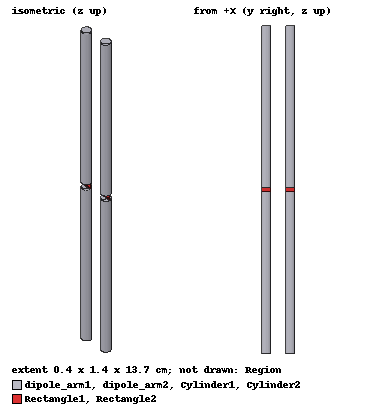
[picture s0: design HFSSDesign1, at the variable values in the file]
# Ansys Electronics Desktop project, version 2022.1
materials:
  vacuum: permittivity=1
  pec: conductivity=1e+30

design HFSSDesign1 (HFSS, DrivenModal, model units cm)
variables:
  wire_rad = 0.2cm
  dipole_length = 6.75cm
  y_kayma = 5
  ykam = 2cm
  y_shift = 1cm
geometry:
  dipole_arm1 [pec] = cylinder(axis=Z, base_centre=(0cm, 0cm, 0.1cm), radius=wire_rad, height=dipole_length)
  dipole_arm2 [pec] = cylinder(axis=Z, base_centre=(0cm, 0cm, -0.1cm), radius=wire_rad, height=-dipole_length)
  Region [vacuum] = region(absolute_offset=7.5cm on all sides)
  Rectangle1 = rectangle(corner=(0cm, -wire_rad, -0.1cm), y_size=wire_rad*2, z_size=0.2cm)
  Cylinder1 [pec] = cylinder(axis=Z, base_centre=(0cm, y_shift, 0.1cm), radius=wire_rad, height=dipole_length)
  Cylinder2 [pec] = cylinder(axis=Z, base_centre=(0cm, y_shift, -0.1cm), radius=wire_rad, height=-dipole_length)
  Rectangle2 = rectangle(corner=(0cm, y_shift-wire_rad, -0.1cm), y_size=wire_rad*2, z_size=0.2cm)
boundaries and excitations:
  Rad1: Radiation Objects=Region
  1: Lumped Port Objects=Rectangle1 Modes{Mode1{IntLine{(0, 0, -0.1) -> (0, 0, 0.1)} CharImp=Zpi RenormImp=50ohm}} Impedance=50ohm
  2: Lumped Port Objects=Rectangle2 Modes{Mode1{IntLine{(0, 1, -0.1) -> (0, 1, 0.1)} CharImp=Zpi RenormImp=50ohm}} Impedance=50ohm
  reference conductors: dipole_arm1, dipole_arm2
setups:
  Setup1: HfssDriven Frequency=1GHz MaxDeltaS=0.02 MaximumPasses=6 MinimumPasses=1 MinimumConvergedPasses=1 PercentRefinement=30 BasisOrder=1 PortAccuracy=2 DrivenSolverType="Direct Solver"
    sweep Sweep: 0.8GHz to 1.2GHz step 0.01GHz; Type=Interpolating InterpTolerance=0.5 InterpMaxSolns=250 InterpUsePortImped=false PassivityErrorTolerance=0.0001
    sweep Sweep1: 0.8GHz to 1.2GHz step 0.01GHz; Type=Interpolating InterpTolerance=0.5 InterpMaxSolns=250 InterpUsePortImped=false PassivityErrorTolerance=0.0001
  Setup2: HfssDriven Frequency=1GHz MaxDeltaS=0.02 MaximumPasses=6 MinimumPasses=1 MinimumConvergedPasses=1 PercentRefinement=30 BasisOrder=1 PortAccuracy=2 DrivenSolverType="Direct Solver"
    sweep Sweep: 0.5GHz to 1GHz step 0.01GHz; Type=Interpolating InterpTolerance=0.5 InterpMaxSolns=250 InterpUsePortImped=false PassivityErrorTolerance=0.0001
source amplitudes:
  1:1, 2:1: 1W 0deg
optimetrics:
  ParametricSetup1: Parametric Sim._Setups=[Setup1]
    sweep dipole_length: LIN 6.5cm 7cm 0.25cm
  ParametricSetup2: Parametric Sim._Setups=[Setup1, Setup2]
    sweep y_shift: LIN 0.5cm 1.5cm 0.1cm
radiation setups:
  ff_2d: Infinite Sphere Theta=-180deg..180deg step 2deg Phi=0deg..90deg step 90deg
  ff_3d: Infinite Sphere Theta=0deg..180deg step 5deg Phi=0deg..360deg step 5deg
  Infinite Sphere1: Infinite Sphere Theta=-180deg..180deg step 2deg Phi=0deg..90deg step 90deg
  Infinite Sphere2: Infinite Sphere Theta=0deg..180deg step 5deg Phi=0deg..360deg step 5deg
  Infinite Sphere3: Infinite Sphere Theta=-180deg..180deg step 2deg Phi=0deg..90deg step 90deg
  Infinite Sphere4: Infinite Sphere Theta=0deg..180deg step 5deg Phi=0deg..360deg step 5deg
  Infinite Sphere5: Infinite Sphere Theta=-180deg..180deg step 2deg Phi=0deg..90deg step 90deg
  Infinite Sphere6: Infinite Sphere Theta=0deg..180deg step 5deg Phi=0deg..360deg step 5deg
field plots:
  Mag_E1, Mag_E2: E Field over a plane on Setup1 : LastAdaptive at Freq=1GHz Phase=0deg
  Vector_Jsurf1: Jsurf over dipole_arm1.face(all 3) on Setup1 : LastAdaptive at Freq=1GHz Phase=0deg
  Vector_Jsurf2: Jsurf over dipole_arm2.face(all 3) on Setup1 : LastAdaptive at Freq=1GHz Phase=0deg
  Vector_Jsurf3: Jsurf over Cylinder1.face(all 3) on Setup1 : LastAdaptive at Freq=1GHz Phase=0deg
  Vector_Jsurf4: Jsurf over Cylinder2.face(all 3) on Setup1 : LastAdaptive at Freq=1GHz Phase=0deg
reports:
  S Parameter Plot 1: dB(S(1,1)) vs Freq on Setup1 : Sweep [dipole_length=6.5cm,6.75cm,7cm,7.5cm]; markers m1 at 1.04GHz
  Gain Plot 1: dB(GainTotal) vs Theta on Setup1 : LastAdaptive, ff_2d [Phi=all Freq=1GHz dipole_length=6.75cm]
  Gain Plot 2: dB(GainTotal) vs Phi, Theta on Setup1 : LastAdaptive, ff_2d [Freq=1GHz dipole_length=6.75cm]
  Gain Plot 3: dB(GainTotal) vs Phi, Theta on Setup1 : LastAdaptive, ff_3d [Freq=1GHz dipole_length=6.75cm]
  S Parameter Plot 2: dB(S(1,2)) vs Freq on Setup1 : Sweep [dipole_length=6.5cm,6.75cm,7cm,7.5cm]
  S Parameter Plot 3: dB(S(2,1)) vs Freq on Setup1 : Sweep [dipole_length=6.5cm,6.75cm,7cm,7.5cm]
  Gain Plot 4: dB(GainTotal) vs Theta on Setup1 : LastAdaptive, ff_2d [Phi=all Freq=1GHz dipole_length=all]
  Gain Plot 5: dB(GainTotal) vs Phi, Theta on Setup1 : LastAdaptive, ff_3d [Freq=1GHz dipole_length=6.5cm]
  Directivity Plot 1: DirTotal vs Phi, Theta on Setup1 : LastAdaptive, ff_2d [Freq=1GHz dipole_length=6.75cm]
  Gain Plot 6: dB(GainTotal) vs Theta on Setup1 : LastAdaptive, ff_2d [Phi=all Freq=1GHz dipole_length=all y_shift=all]
  Directivity Plot 4: DirTotal vs Theta on Setup1 : LastAdaptive, Infinite Sphere5 [Phi=all Freq=1GHz dipole_length=all y_shift=all]
  S Parameter Plot 4: dB(S(1,1)) vs Freq on Setup1 : Sweep [dipole_length=all y_shift=all]
  S Parameter Plot 5: dB(S(1,2)) vs Freq on Setup1 : Sweep [dipole_length=all y_shift=all]
